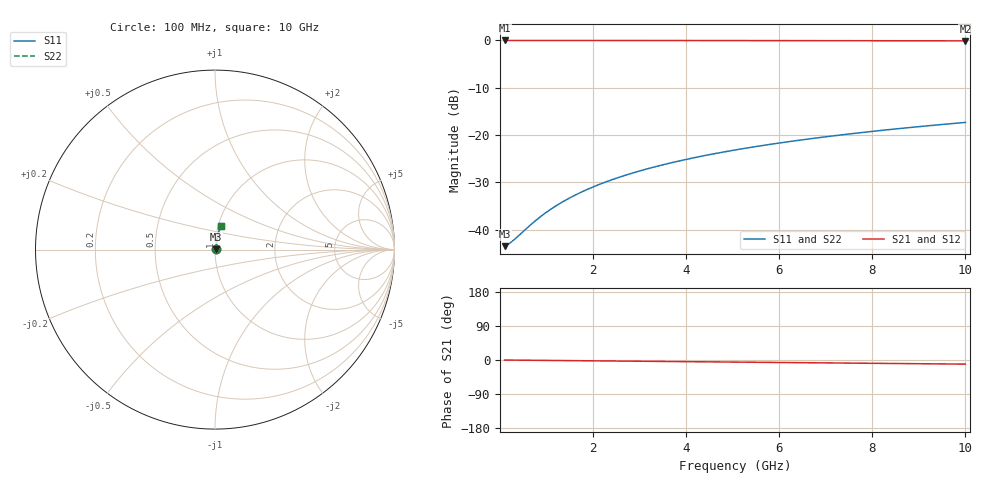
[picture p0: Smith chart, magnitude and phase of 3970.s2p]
# Hz S RI R 50.00
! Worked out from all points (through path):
!   100 points, 100 MHz to 10 GHz, reference 50 ohm
!   highest |S21| = -0.06 dB at 100 MHz (marker M1); lowest = -0.1 dB at 10 GHz (marker M2)
!   group delay of S21, straight-line fit = 3.02 ps
!   lowest |S11| = -43.5 dB at 100 MHz (marker M3), VSWR 1.01, Z = 50.7 + j0.137 ohm
!   |S11| at or under -10 dB: start of sweep to end of sweep
!   |S22| runs from -43.5 to -17.4 dB; largest |S21 - S12| = 0
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1e8  0.00653 0.00135  0.9935 -0.0019  0.9935 -0.0019  0.00653 0.00135
2e8  0.00658 0.00271  0.9934 -0.00379  0.9934 -0.00379  0.00658 0.00271
3e8  0.00662 0.00406  0.9934 -0.00568  0.9934 -0.00568  0.00662 0.00406
7e8  0.00681 0.00947  0.9932 -0.0133  0.9932 -0.0133  0.00681 0.00947
8e8  0.00687 0.0108  0.9931 -0.0152  0.9931 -0.0152  0.00687 0.0108
1e9  0.00699 0.0135  0.993 -0.0189  0.993 -0.0189  0.00699 0.0135
1.2e9  0.00712 0.0162  0.9928 -0.0227  0.9928 -0.0227  0.00712 0.0162
1.4e9  0.00728 0.0189  0.9927 -0.0265  0.9927 -0.0265  0.00728 0.0189
1.6e9  0.00746 0.0216  0.9925 -0.0303  0.9925 -0.0303  0.00746 0.0216
1.8e9  0.00765 0.0243  0.9923 -0.0341  0.9923 -0.0341  0.00765 0.0243
2.1e9  0.00798 0.0284  0.9919 -0.0397  0.9919 -0.0397  0.00798 0.0284
2.5e9  0.00848 0.0338  0.9914 -0.0473  0.9914 -0.0473  0.00848 0.0338
2.9e9  0.00907 0.0391  0.9908 -0.0548  0.9908 -0.0548  0.00907 0.0391
3.4e9  0.00991 0.0458  0.9899 -0.0642  0.9899 -0.0642  0.00991 0.0458
3.8e9  0.0107 0.0512  0.9891 -0.0718  0.9891 -0.0718  0.0107 0.0512
4.2e9  0.0115 0.0565  0.9882 -0.0793  0.9882 -0.0793  0.0115 0.0565
5.1e9  0.0137 0.0685  0.9859 -0.0961  0.9859 -0.0961  0.0137 0.0685
5.9e9  0.016 0.079  0.9835 -0.111  0.9835 -0.111  0.016 0.079
6.7e9  0.0186 0.0894  0.9807 -0.1257  0.9807 -0.1257  0.0186 0.0894
7.5e9  0.0215 0.0998  0.9776 -0.1404  0.9776 -0.1404  0.0215 0.0998
8.4e9  0.0251 0.1113  0.9738 -0.1568  0.9738 -0.1568  0.0251 0.1113
1e10  0.0325 0.1314  0.9659 -0.1856  0.9659 -0.1856  0.0325 0.1314
